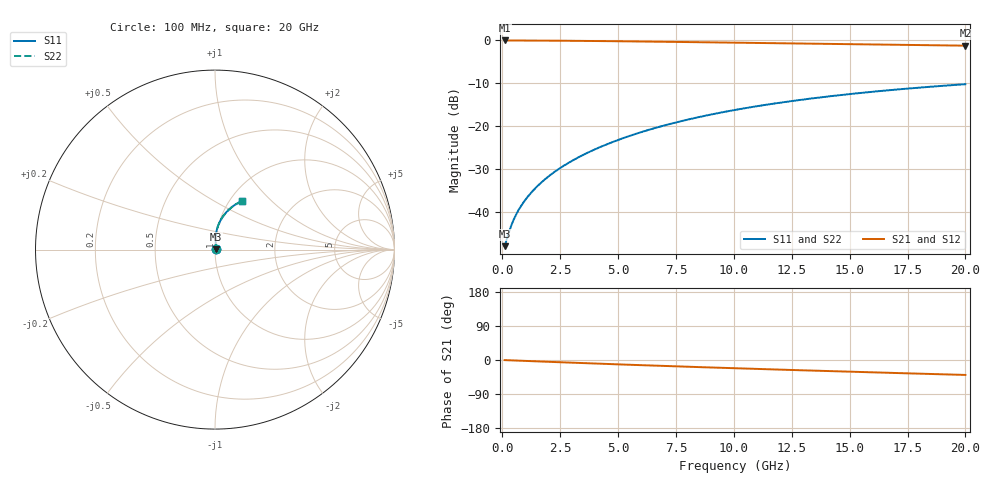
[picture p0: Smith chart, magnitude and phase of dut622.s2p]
! Touchstone file exported from HFSS 2024.1.0
!  File:  C:/UserFiles/LocalFiles/RDL_TSV_Batchsim/temp_RDL_top_622_1779780231.aedt
!  Generated:  03:26:19 PM May 26, 2026
!  Design:  RDL_top
!  Project:  temp_RDL_top_622_1779780231
!  Setup:  Setup1
!  Solution:  Sweep
! Variables:
!  dtsv = 10.80580581um
!  hbump = 3um
!  htsv = 92.19um
!  ldown = 100um
!  lrdl = 577.04um
!  p = 40
!  p1 = 47.56um
!  rhole = 1um
!  t = 450um
!  tdown = 3.915915916um
!  trdl = 2.31um
!  wdown = 15.38538539um
!  wrdl = 26.65um
# GHz S MA R 50.000000
! Terminal data exported
! Port[1] = Box2_T1
! Port[2] = Box2_T2
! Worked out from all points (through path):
!   200 points, 100 MHz to 20 GHz, reference 50 ohm
!   highest |S21| = -0.03 dB at 100 MHz (marker M1); lowest = -1.2 dB at 20 GHz (marker M2)
!   group delay of S21, straight-line fit = 5.42 ps
!   lowest |S11| = -48.0 dB at 100 MHz (marker M3), VSWR 1.01, Z = 50.4 + j0.153 ohm
!   |S11| at or under -10 dB: start of sweep to end of sweep
!   |S22| runs from -48.0 to -10.2 dB; largest |S21 - S12| = 2e-15
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0.1  0.003967 22.6  0.9963 -0.3  0.9963 -0.3  0.003967 22.6
! Gamma 0 0 0 0
! Port Impedance 50 0 50 0
0.3  0.005922 47.8  0.9959 -0.8  0.9959 -0.8  0.005922 47.8
0.4  0.007059 53.9  0.9957 -1.0  0.9957 -1.0  0.007059 53.9
0.5  0.008196 58.2  0.9954 -1.2  0.9954 -1.2  0.008196 58.2
0.6  0.009324 61.5  0.9951 -1.5  0.9951 -1.5  0.009324 61.5
0.7  0.01045 64.2  0.9949 -1.7  0.9949 -1.7  0.01045 64.2
0.9  0.0127 68.5  0.9944 -2.2  0.9944 -2.2  0.0127 68.5
1.2  0.01614 73.2  0.9937 -2.9  0.9937 -2.9  0.01614 73.2
1.7  0.02213 78.3  0.9923 -4.1  0.9923 -4.1  0.02213 78.3
2.2  0.02843 81.5  0.9906 -5.2  0.9906 -5.2  0.02843 81.5
2.8  0.03636 83.9  0.9881 -6.6  0.9881 -6.6  0.03636 83.9
3.5  0.04613 85.6  0.9846 -8.2  0.9846 -8.2  0.04613 85.6
4.2  0.05643 86.5  0.9807 -9.8  0.9807 -9.8  0.05641 86.5
5  0.06877 86.8  0.9757 -11.5  0.9757 -11.5  0.06875 86.8
5.9  0.08327 86.5  0.9696 -13.4  0.9696 -13.4  0.08324 86.4
6.8  0.09827 85.7  0.9632 -15.3  0.9632 -15.3  0.09823 85.6
8.4  0.1256 83.4  0.9514 -18.5  0.9514 -18.5  0.1256 83.4
10.1  0.155 80.4  0.9387 -21.9  0.9387 -21.9  0.1549 80.4
11.7  0.1823 77.4  0.9267 -24.9  0.9267 -24.9  0.1822 77.3
13.4  0.2104 74.0  0.9141 -28.0  0.9141 -28.0  0.2103 73.9
16.7  0.2617 67.5  0.8899 -33.8  0.8899 -33.8  0.2615 67.4
20  0.3078 61.3  0.8663 -39.4  0.8663 -39.4  0.3076 61.2
